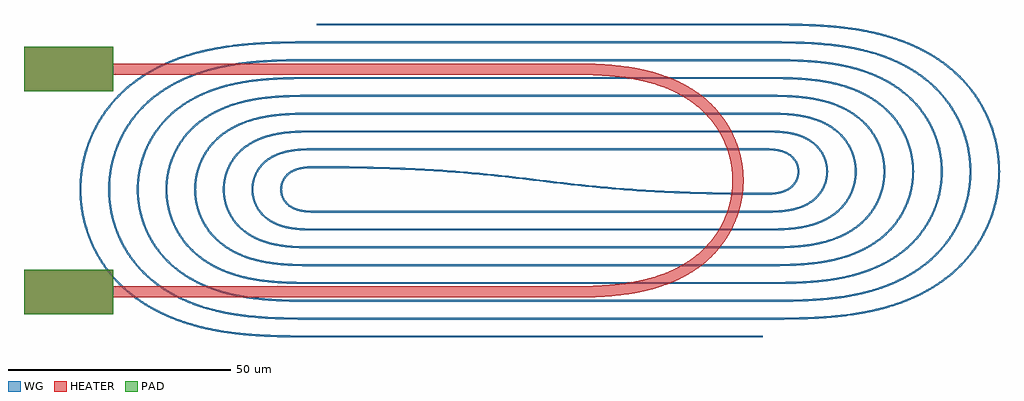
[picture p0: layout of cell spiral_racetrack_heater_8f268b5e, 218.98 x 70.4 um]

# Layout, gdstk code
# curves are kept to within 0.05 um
from math import pi, radians
import gdstk
lib = gdstk.Library(unit=1e-6, precision=1e-09)
def R(c, l, rs):  # rectangles x0, y0, x1, y1
    for r in rs: c.add(gdstk.rectangle(r[:2], r[2:], *l))
def P(c, l, *ps):  # polygons
    for p in ps: c.add(gdstk.Polygon(p, *l))
WG = (3, 0)
HEATER = (39, 0)
PAD = (41, 0)

bend_s_s100_m6_csstrip__ = lib.new_cell('bend_s_S100_m6_CSstrip__cffa29a1')
P(bend_s_s100_m6_csstrip__, WG, [(100,-6.2),(92.722,-6.155),(84.906,-5.99),(79.064,-5.772),(72.742,-5.428),(67.039,-5.01),(61.818,-4.534),(40.612,-2.119),(31.09,-1.242),(24.161,-0.789),(16.295,-0.448),(8.641,-0.265),(0,-0.2),(0,0.2),(7.278,0.155),(15.094,-0.01),(20.936,-0.228),(27.258,-0.572),(32.961,-0.99),(38.182,-1.466),(59.388,-3.881),(68.91,-4.758),(75.839,-5.211),(83.705,-5.552),(91.359,-5.735),(100,-5.8)])

bend_euler_r5_a180_p0p5_ = lib.new_cell('bend_euler_R5_A180_P0p5_224e2057')
P(bend_euler_r5_a180_p0p5_, WG, [(0,-0.2),(0,0.2),(1.95,0.238),(3.515,0.429),(4.686,0.757),(5.766,1.29),(6.685,2.052),(7.285,2.878),(7.676,3.821),(7.786,4.321),(7.839,5),(7.786,5.679),(7.676,6.179),(7.285,7.122),(6.685,7.948),(5.766,8.71),(4.686,9.243),(3.515,9.571),(1.95,9.762),(0,9.8),(0,10.2),(1.974,10.161),(3.593,9.963),(4.826,9.618),(5.981,9.047),(6.85,8.354),(7.44,7.635),(7.878,6.815),(8.148,5.925),(8.239,5),(8.148,4.075),(7.878,3.185),(7.44,2.365),(6.979,1.78),(6.286,1.162),(5.5,0.678),(4.653,0.32),(3.772,0.074),(2.695,-0.1)])

straight_l100_csstrip_wn = lib.new_cell('straight_L100_CSstrip_WNone_N2')
R(straight_l100_csstrip_wn, WG, [(0,-0.2,100,0.2)])

bend_euler_r9_a180_p0p5_ = lib.new_cell('bend_euler_R9_A180_P0p5_431cc5ca')
P(bend_euler_r9_a180_p0p5_, WG, [(0,-0.2),(0,0.2),(3.975,0.3),(5.513,0.469),(6.861,0.724),(7.852,0.993),(8.816,1.34),(9.592,1.692),(10.479,2.196),(11.305,2.792),(12.056,3.483),(12.726,4.283),(13.287,5.163),(13.663,5.947),(13.999,6.935),(14.202,7.959),(14.27,9),(14.202,10.041),(13.999,11.065),(13.663,12.053),(13.287,12.837),(12.726,13.717),(12.056,14.517),(11.305,15.208),(10.479,15.804),(9.592,16.308),(8.816,16.66),(7.852,17.007),(6.861,17.276),(5.513,17.531),(3.975,17.7),(0,17.8),(0,18.2),(3.656,18.123),(5.225,17.975),(6.437,17.777),(7.634,17.489),(8.803,17.096),(9.929,16.585),(10.843,16.044),(11.557,15.518),(12.217,14.924),(13.259,13.654),(13.638,13.03),(14.033,12.206),(14.336,11.344),(14.509,10.634),(14.639,9.73),(14.67,9),(14.639,8.27),(14.509,7.366),(14.336,6.656),(14.033,5.794),(13.638,4.97),(13.259,4.346),(12.217,3.076),(11.134,2.158),(9.772,1.335),(8.306,0.721),(6.781,0.295),(4.877,-0.017),(2.784,-0.166)])

bend_euler_r13_a180_p0p_ = lib.new_cell('bend_euler_R13_A180_P0p_0f2faebe')
P(bend_euler_r13_a180_p0p_, WG, [(0,-0.2),(0,0.2),(3.29,0.227),(5.532,0.329),(7.76,0.559),(9.623,0.889),(11.284,1.324),(12.738,1.84),(13.983,2.409),(15.171,3.088),(16.415,3.989),(17.54,5.036),(18.423,6.091),(19.259,7.394),(19.914,8.796),(20.335,10.106),(20.599,11.456),(20.702,13),(20.599,14.544),(20.335,15.894),(19.914,17.204),(19.259,18.606),(18.423,19.909),(17.54,20.964),(16.415,22.011),(15.171,22.912),(13.983,23.591),(12.738,24.16),(11.284,24.676),(9.623,25.111),(7.76,25.441),(5.532,25.671),(3.29,25.773),(0,25.8),(0,26.2),(3.126,26.177),(5.213,26.093),(7.296,25.905),(9.195,25.608),(11.066,25.159),(12.725,24.595),(14.321,23.866),(15.68,23.056),(16.669,22.321),(17.583,21.494),(18.417,20.569),(19.052,19.71),(19.694,18.643),(20.153,17.679),(20.578,16.508),(20.879,15.3),(21.037,14.244),(21.102,13),(21.037,11.756),(20.844,10.526),(20.525,9.322),(20.153,8.321),(19.694,7.357),(19.052,6.29),(18.417,5.431),(17.708,4.633),(16.938,3.906),(16.112,3.248),(15.237,2.658),(14.165,2.053),(13.051,1.537),(11.902,1.103),(9.537,0.462),(6.95,0.055),(3.995,-0.152)])

bend_euler_r17_a180_p0p_ = lib.new_cell('bend_euler_R17_A180_P0p_8af989a6')
P(bend_euler_r17_a180_p0p_, WG, [(0,-0.2),(0,0.2),(3.982,0.228),(7.089,0.359),(9.836,0.626),(12.215,1.022),(14.386,1.556),(16.18,2.153),(18.069,2.973),(19.717,3.889),(21.259,4.971),(22.788,6.341),(24.017,7.764),(25.147,9.476),(26.037,11.324),(26.628,13.109),(26.995,14.953),(27.133,17),(26.995,19.047),(26.628,20.891),(26.037,22.676),(25.147,24.524),(24.017,26.236),(22.788,27.659),(21.259,29.029),(19.717,30.111),(18.069,31.027),(16.18,31.847),(14.386,32.444),(12.215,32.978),(9.836,33.374),(7.089,33.641),(3.982,33.772),(0,33.8),(0,34.2),(3.99,34.172),(7.116,34.04),(9.888,33.77),(12.295,33.37),(14.665,32.779),(16.81,32.03),(18.714,31.147),(20.516,30.068),(21.78,29.124),(22.95,28.064),(24.009,26.892),(24.847,25.766),(25.665,24.414),(26.342,22.988),(26.872,21.5),(27.215,20.139),(27.453,18.577),(27.533,17),(27.453,15.423),(27.215,13.861),(26.872,12.5),(26.342,11.012),(25.665,9.586),(24.847,8.234),(24.009,7.108),(23.074,6.061),(22.049,5.102),(20.947,4.234),(19.63,3.367),(18.403,2.692),(17.133,2.104),(15.498,1.485),(13.825,0.986),(12.295,0.63),(9.023,0.126),(5.379,-0.131)])

bend_euler_r21_a180_p0p_ = lib.new_cell('bend_euler_R21_A180_P0p_6250e1cd')
P(bend_euler_r21_a180_p0p_, WG, [(0,-0.2),(0,0.2),(4.991,0.236),(8.768,0.397),(11.843,0.687),(15.057,1.208),(17.719,1.858),(20.152,2.673),(22.344,3.631),(24.431,4.796),(26.513,6.281),(28.276,7.895),(29.836,9.735),(31.148,11.759),(32.192,13.934),(32.95,16.224),(33.41,18.593),(33.564,21),(33.41,23.407),(32.95,25.776),(32.192,28.066),(31.148,30.241),(29.836,32.265),(28.276,34.105),(26.513,35.719),(24.431,37.204),(22.344,38.369),(20.152,39.327),(17.719,40.142),(15.057,40.792),(11.843,41.313),(8.768,41.603),(4.991,41.764),(0,41.8),(0,42.2),(5,42.164),(8.794,42.002),(12.235,41.666),(15.137,41.184),(17.996,40.478),(20.618,39.574),(23.139,38.411),(25.371,37.067),(26.9,35.919),(28.317,34.634),(29.616,33.198),(30.764,31.639),(31.667,30.128),(32.497,28.379),(33.147,26.555),(33.611,24.675),(33.884,22.758),(33.964,21),(33.867,19.066),(33.576,17.152),(33.147,15.445),(32.497,13.621),(31.583,11.717),(30.567,10.069),(29.504,8.666),(28.441,7.491),(27.167,6.304),(25.798,5.232),(24.348,4.274),(22.676,3.35),(20.94,2.557),(19.153,1.887),(17.329,1.334),(15.307,0.851),(13.263,0.481),(11.033,0.191),(6.552,-0.118)])

bend_euler_r25_a180_p0p_ = lib.new_cell('bend_euler_R25_A180_P0p_11fb0ebf')
P(bend_euler_r25_a180_p0p_, WG, [(0,-0.2),(0,0.2),(5.856,0.241),(10.325,0.427),(14.259,0.8),(17.817,1.377),(20.985,2.141),(23.913,3.111),(26.582,4.272),(28.977,5.597),(30.261,6.446),(31.357,7.264),(32.406,8.142),(33.522,9.201),(34.455,10.208),(35.429,11.407),(36.225,12.527),(37.036,13.842),(37.68,15.055),(38.249,16.304),(38.796,17.749),(39.243,19.228),(39.588,20.734),(39.807,22.09),(39.954,23.627),(39.995,24.828),(39.954,26.373),(39.828,27.74),(39.62,29.097),(39.329,30.44),(38.904,31.925),(38.442,33.218),(37.902,34.481),(37.204,35.859),(36.505,37.041),(35.736,38.179),(34.898,39.267),(33.879,40.428),(32.786,41.513),(31.756,42.414),(30.539,43.355),(29.267,44.221),(26.735,45.652),(23.913,46.889),(20.985,47.859),(17.817,48.623),(14.259,49.2),(10.325,49.573),(5.856,49.759),(0,49.8),(0,50.2),(5.865,50.159),(10.524,49.961),(14.481,49.575),(17.896,49.015),(21.427,48.147),(23.078,47.618),(24.701,47.009),(26.133,46.387),(27.685,45.611),(30.063,44.177),(32.011,42.722),(33.684,41.204),(35.208,39.521),(36.558,37.695),(37.638,35.898),(38.618,33.85),(39.39,31.715),(39.947,29.513),(40.283,27.268),(40.395,25.175),(40.3,22.906),(39.947,20.487),(39.39,18.285),(38.618,16.15),(37.638,14.102),(36.46,12.16),(35.208,10.479),(33.929,9.045),(32.41,7.614),(30.774,6.321),(29.04,5.166),(27.069,4.068),(25.181,3.191),(22.914,2.325),(20.761,1.663),(18.235,1.055),(15.851,0.621),(13.107,0.263),(10.524,0.039),(7.763,-0.104)])

bend_euler_r29_a180_p0p_ = lib.new_cell('bend_euler_R29_A180_P0p_81cbb6b6')
P(bend_euler_r29_a180_p0p_, WG, [(0,-0.2),(0,0.2),(6.721,0.246),(12.053,0.468),(16.505,0.891),(20.577,1.547),(24.251,2.425),(25.893,2.923),(27.834,3.611),(29.263,4.194),(30.974,4.988),(32.489,5.791),(33.813,6.58),(35.237,7.533),(36.602,8.567),(37.901,9.681),(39.127,10.876),(40.272,12.147),(41.332,13.491),(42.301,14.902),(43.093,16.223),(43.805,17.588),(44.501,19.151),(45.039,20.594),(45.536,22.232),(45.924,23.898),(46.203,25.587),(46.371,27.29),(46.427,29),(46.371,30.71),(46.203,32.413),(45.924,34.102),(45.536,35.768),(45.039,37.406),(44.501,38.849),(43.805,40.412),(43.093,41.777),(42.301,43.098),(41.332,44.509),(40.272,45.853),(39.127,47.124),(37.901,48.319),(36.602,49.433),(35.237,50.467),(33.813,51.42),(32.489,52.209),(30.974,53.012),(29.263,53.806),(27.834,54.389),(25.893,55.077),(24.251,55.575),(20.577,56.453),(16.505,57.109),(12.053,57.532),(6.721,57.754),(0,57.8),(0,58.2),(6.902,58.15),(12.08,57.931),(16.727,57.484),(18.952,57.156),(20.994,56.777),(23.188,56.274),(25.025,55.767),(26.838,55.18),(28.622,54.508),(30.214,53.819),(31.924,52.974),(33.435,52.122),(35.042,51.091),(37.122,49.525),(39.05,47.774),(40.8,45.843),(42.352,43.75),(43.692,41.516),(44.806,39.16),(45.684,36.707),(46.317,34.18),(46.699,31.602),(46.827,29),(46.699,26.398),(46.317,23.82),(45.684,21.293),(44.739,18.679),(43.609,16.331),(42.255,14.105),(40.8,12.157),(39.295,10.474),(37.652,8.924),(35.751,7.41),(33.732,6.058),(31.462,4.786),(29.103,3.691),(26.51,2.707),(24.025,1.947),(21.163,1.258),(18.268,0.734),(15.353,0.353),(12.253,0.081),(8.974,-0.09),(5.349,-0.177)])

bend_euler_r33_a180_p0p_ = lib.new_cell('bend_euler_R33_A180_P0p_84bc783a')
P(bend_euler_r33_a180_p0p_, WG, [(0,-0.2),(0,0.2),(8.761,0.279),(12.362,0.423),(15.443,0.636),(19.703,1.108),(23.42,1.733),(25.429,2.17),(27.584,2.727),(29.549,3.325),(31.485,4.008),(33.388,4.781),(35.095,5.571),(36.762,6.442),(38.382,7.395),(40.089,8.532),(41.589,9.664),(43.147,10.996),(44.496,12.307),(45.767,13.709),(46.945,15.188),(47.934,16.596),(48.925,18.207),(49.812,19.878),(50.591,21.602),(51.259,23.372),(51.858,25.347),(52.286,27.189),(52.596,29.056),(52.787,30.938),(52.858,32.828),(52.798,34.891),(52.618,36.774),(52.319,38.642),(51.902,40.487),(51.368,42.302),(50.721,44.079),(49.962,45.812),(49.094,47.493),(48.214,48.971),(47.15,50.535),(45.878,52.16),(44.615,53.569),(43.273,54.889),(41.855,56.121),(40.089,57.468),(38.527,58.514),(36.911,59.475),(35.095,60.429),(33.388,61.219),(31.485,61.992),(29.549,62.675),(27.584,63.273),(25.429,63.83),(23.42,64.267),(19.703,64.892),(15.443,65.364),(12.362,65.577),(8.761,65.721),(0,65.8),(0,66.2),(7.911,66.142),(13.759,65.893),(16.334,65.686),(19.074,65.38),(21.632,65.001),(23.836,64.591),(26.024,64.098),(28.521,63.417),(30.817,62.664),(32.592,61.988),(34.492,61.161),(36.196,60.319),(37.856,59.393),(39.753,58.188),(42.108,56.431),(44.295,54.466),(45.38,53.335),(46.407,52.149),(48.171,49.77),(48.919,48.593),(49.776,47.075),(51.027,44.39),(51.581,42.922),(52.058,41.428),(52.712,38.718),(53.113,35.959),(53.226,34.394),(53.258,32.826),(53.208,31.258),(53.077,29.695),(52.644,26.94),(51.907,24.071),(50.893,21.288),(50.323,20.016),(49.528,18.465),(47.976,15.942),(46.407,13.851),(44.54,11.78),(42.639,10.013),(40.461,8.307),(38.152,6.785),(35.581,5.366),(33.071,4.21),(30.165,3.109),(27.193,2.204),(24.174,1.479),(20.781,0.862),(17.363,0.418),(13.759,0.107),(10.148,-0.077),(6.363,-0.17)])

spiral_racetrack_gdsfac_ = lib.new_cell('spiral_racetrack_gdsfac_e184ab77')
spiral_racetrack_gdsfac_.add(gdstk.Reference(bend_s_s100_m6_csstrip__, (0,0)))
spiral_racetrack_gdsfac_.add(gdstk.Reference(bend_euler_r5_a180_p0p5_, (0,0), rotation=pi))
spiral_racetrack_gdsfac_.add(gdstk.Reference(straight_l100_csstrip_wn, (0,-10)))
spiral_racetrack_gdsfac_.add(gdstk.Reference(bend_euler_r9_a180_p0p5_, (100,-10)))
spiral_racetrack_gdsfac_.add(gdstk.Reference(straight_l100_csstrip_wn, (100,8), rotation=pi))
spiral_racetrack_gdsfac_.add(gdstk.Reference(bend_euler_r13_a180_p0p_, (0,8), rotation=pi))
spiral_racetrack_gdsfac_.add(gdstk.Reference(straight_l100_csstrip_wn, (0,-18)))
spiral_racetrack_gdsfac_.add(gdstk.Reference(bend_euler_r17_a180_p0p_, (100,-18)))
spiral_racetrack_gdsfac_.add(gdstk.Reference(straight_l100_csstrip_wn, (100,16), rotation=pi))
spiral_racetrack_gdsfac_.add(gdstk.Reference(bend_euler_r21_a180_p0p_, (0,16), rotation=pi))
spiral_racetrack_gdsfac_.add(gdstk.Reference(straight_l100_csstrip_wn, (0,-26)))
spiral_racetrack_gdsfac_.add(gdstk.Reference(bend_euler_r25_a180_p0p_, (100,-26)))
spiral_racetrack_gdsfac_.add(gdstk.Reference(straight_l100_csstrip_wn, (100,24), rotation=pi))
spiral_racetrack_gdsfac_.add(gdstk.Reference(bend_euler_r29_a180_p0p_, (0,24), rotation=pi))
spiral_racetrack_gdsfac_.add(gdstk.Reference(straight_l100_csstrip_wn, (0,-34)))
spiral_racetrack_gdsfac_.add(gdstk.Reference(bend_euler_r33_a180_p0p_, (100,-34)))
spiral_racetrack_gdsfac_.add(gdstk.Reference(straight_l100_csstrip_wn, (100,32), rotation=pi))
spiral_racetrack_gdsfac_.add(gdstk.Reference(bend_euler_r5_a180_p0p5_, (100,-6)))
spiral_racetrack_gdsfac_.add(gdstk.Reference(straight_l100_csstrip_wn, (100,4), rotation=pi))
spiral_racetrack_gdsfac_.add(gdstk.Reference(bend_euler_r9_a180_p0p5_, (0,4), rotation=pi))
spiral_racetrack_gdsfac_.add(gdstk.Reference(straight_l100_csstrip_wn, (0,-14)))
spiral_racetrack_gdsfac_.add(gdstk.Reference(bend_euler_r13_a180_p0p_, (100,-14)))
spiral_racetrack_gdsfac_.add(gdstk.Reference(straight_l100_csstrip_wn, (100,12), rotation=pi))
spiral_racetrack_gdsfac_.add(gdstk.Reference(bend_euler_r17_a180_p0p_, (0,12), rotation=pi))
spiral_racetrack_gdsfac_.add(gdstk.Reference(straight_l100_csstrip_wn, (0,-22)))
spiral_racetrack_gdsfac_.add(gdstk.Reference(bend_euler_r21_a180_p0p_, (100,-22)))
spiral_racetrack_gdsfac_.add(gdstk.Reference(straight_l100_csstrip_wn, (100,20), rotation=pi))
spiral_racetrack_gdsfac_.add(gdstk.Reference(bend_euler_r25_a180_p0p_, (0,20), rotation=pi))
spiral_racetrack_gdsfac_.add(gdstk.Reference(straight_l100_csstrip_wn, (0,-30)))
spiral_racetrack_gdsfac_.add(gdstk.Reference(bend_euler_r29_a180_p0p_, (100,-30)))
spiral_racetrack_gdsfac_.add(gdstk.Reference(straight_l100_csstrip_wn, (100,28), rotation=pi))
spiral_racetrack_gdsfac_.add(gdstk.Reference(bend_euler_r33_a180_p0p_, (0,28), rotation=pi))
spiral_racetrack_gdsfac_.add(gdstk.Reference(straight_l100_csstrip_wn, (0,-38)))

straight_gdsfactorypcom_ = lib.new_cell('straight_gdsfactorypcom_262b2f90')
R(straight_gdsfactorypcom_, HEATER, [(0,-1.25,100,1.25)])

c_bend_euler_r25_a180_p0p_ = lib.new_cell('bend_euler_R25_A180_P0p_ce329588')
P(c_bend_euler_r25_a180_p0p_, HEATER, [(0,-1.25),(0,1.25),(5.834,1.291),(9.917,1.453),(13.792,1.8),(17.446,2.374),(20.858,3.197),(23.848,4.212),(26.707,5.512),(29.251,7.025),(31.339,8.606),(33.226,10.411),(34.884,12.436),(36.284,14.647),(37.465,17.165),(38.228,19.497),(38.744,22.063),(38.945,24.836),(38.805,27.45),(38.349,30.027),(37.582,32.529),(36.44,35.065),(35.074,37.297),(33.447,39.347),(31.586,41.181),(29.387,42.883),(26.853,44.411),(24.002,45.727),(20.858,46.803),(17.446,47.626),(13.792,48.2),(9.917,48.547),(5.834,48.709),(0,48.75),(0,51.25),(6.061,51.205),(10.42,51.02),(14.442,50.639),(17.929,50.079),(21.21,49.302),(24.429,48.244),(27.383,46.949),(30.198,45.346),(32.256,43.874),(34.036,42.327),(35.668,40.606),(37.018,38.879),(38.295,36.877),(39.369,34.759),(40.227,32.545),(40.862,30.256),(41.267,27.917),(41.439,25.548),(41.376,23.174),(41.078,20.818),(40.498,18.328),(39.725,16.083),(38.733,13.925),(37.533,11.876),(36.363,10.242),(35.06,8.712),(33.504,7.179),(31.827,5.794),(29.894,4.46),(27.864,3.296),(25.921,2.366),(23.591,1.449),(21.21,0.698),(18.797,0.101),(16.362,-0.361),(13.568,-0.743),(11.119,-0.971),(7.976,-1.147)])

compass_gdsfactorypcomp_ = lib.new_cell('compass_gdsfactorypcomp_5faab884')
R(compass_gdsfactorypcomp_, HEATER, [(-10,-5,10,5)])

c_compass_gdsfactorypcomp_ = lib.new_cell('compass_gdsfactorypcomp_3ff70b43')
R(c_compass_gdsfactorypcomp_, PAD, [(-10,-5,10,5)])

via_stack_heater_mtop_s2 = lib.new_cell('via_stack_heater_mtop_S20_10')
via_stack_heater_mtop_s2.add(gdstk.Reference(compass_gdsfactorypcomp_, (0,0)))
via_stack_heater_mtop_s2.add(gdstk.Reference(c_compass_gdsfactorypcomp_, (0,0)))

spiral_racetrack_heater_ = lib.new_cell('spiral_racetrack_heater_8f268b5e')
spiral_racetrack_heater_.add(gdstk.Reference(spiral_racetrack_gdsfac_, (0,0)))
spiral_racetrack_heater_.add(gdstk.Reference(straight_gdsfactorypcom_, (54.277,-28), rotation=pi))
spiral_racetrack_heater_.add(gdstk.Reference(straight_gdsfactorypcom_, (54.277,22), rotation=pi))
spiral_racetrack_heater_.add(gdstk.Reference(c_bend_euler_r25_a180_p0p_, (54.277,-28)))
spiral_racetrack_heater_.add(gdstk.Reference(via_stack_heater_mtop_s2, (-55.723,22)))
spiral_racetrack_heater_.add(gdstk.Reference(via_stack_heater_mtop_s2, (-55.723,-28)))

lib.write_gds('spiral_racetrack_heater_8f268b5e.gds')
